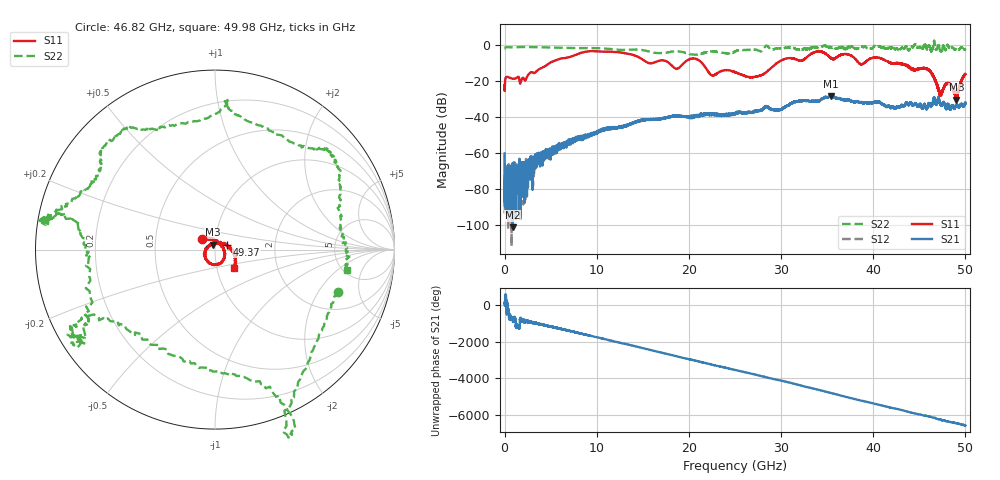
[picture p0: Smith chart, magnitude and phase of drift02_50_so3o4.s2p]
!Created with skrf (http://scikit-rf.org).
# Hz S RI R 50.0
!freq ReS11 ImS11 ReS21 ImS21 ReS12 ImS12 ReS22 ImS22
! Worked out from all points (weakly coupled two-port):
!   10001 points, 300 kHz to 50 GHz, reference 50 ohm
!   highest |S21| = -28.46 dB at 35.38 GHz (marker M1); lowest = -101.4 dB at 890.3 MHz (marker M2)
!   lowest |S11| = -30.5 dB at 49.02 GHz (marker M3), VSWR 1.06, Z = 48.7 + j2.61 ohm
!   |S11| at or under -10 dB: start of sweep to 4.957 GHz; 21.38 GHz to 29.63 GHz (8.249 GHz wide, 32.3 % of centre); 41.87 GHz to end of sweep (the widest 3 of 10)
!   |S22| runs from -5.7 to 2.3 dB; largest |S21 - S12| = 0.003
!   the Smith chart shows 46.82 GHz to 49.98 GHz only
!   S11 on the Smith chart (normalised r, x): 46.82 GHz: 0.86, +0.10; 49.37 GHz: 1.14, +0.06; 49.98 GHz: 1.21, -0.26
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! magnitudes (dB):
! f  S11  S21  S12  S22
! 300 kHz  -22.5  -60.4  -65.4  -2.1
! 255.3 MHz  -17.9  -81.7  -77.8  -1.4
! 890.3 MHz  -18.9  -101.4  -67.5  -1.5
! 8.335 GHz  -4.5  -51.8  -51.7  -1.9
! 16.67 GHz  -9.1  -41.4  -41.5  -4.7
! 18.7 GHz  -13.5  -39.7  -39.5  -3.7
! 20.6 GHz  -7.7  -40.0  -39.8  -5.7
! 22.5 GHz  -17.1  -39.0  -38.7  -3.7
! 25 GHz  -15.2  -38.7  -38.3  -3.9
! 27.45 GHz  -17.6  -36.7  -36.5  -3.1
! 30.23 GHz  -8.3  -35.3  -35.2  -2.0
! 33.34 GHz  -4.9  -31.2  -31.3  -1.5
! 35.38 GHz  -7.4  -28.5  -28.6  -1.3
! 41.67 GHz  -9.6  -34.0  -34.2  -1.9
! 45.77 GHz  -13.5  -35.3  -35.4  -1.9
! 46.82 GHz  -20.8  -33.2  -33.0  -2.8
! 47.27 GHz  -26.7  -32.7  -32.8  -3.3
! 48.13 GHz  -21.2  -32.9  -33.1  -0.6
! 49.02 GHz  -30.5  -34.2  -33.4  -1.9
! 49.37 GHz  -23.0  -34.0  -34.7  -2.6
! 49.98 GHz  -16.5  -32.9  -32.8  -2.6
! 50 GHz  -16.3  -32.2  -32.8  -2.6
